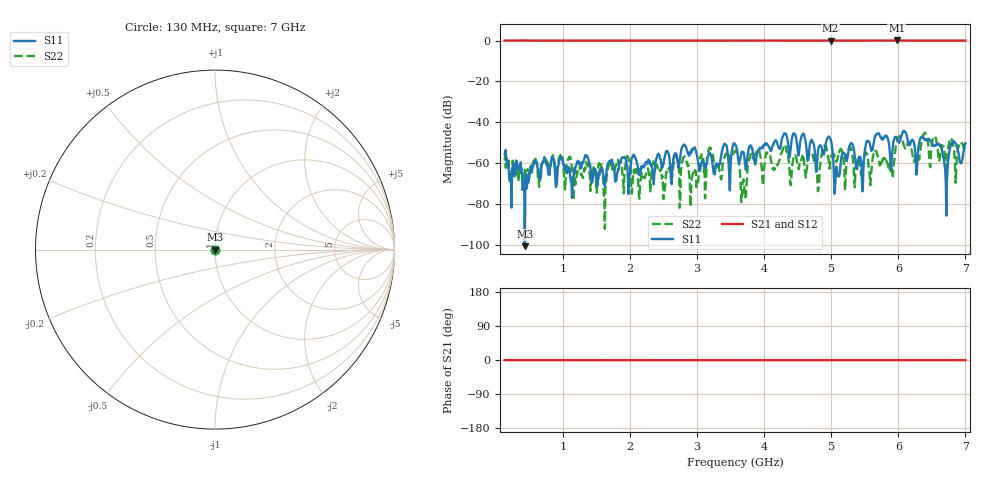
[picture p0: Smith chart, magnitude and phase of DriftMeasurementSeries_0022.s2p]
# Hz S RI R 50.000000
! Metas.Vna.Tools, 2.8.8664.20301
! Metas.Vna.Data, 2.8.8664.20285
! Created: UTC 2024.02.11 10:08:12
! FREQ  re:S1,1  im:S1,1  re:S2,1  im:S2,1  re:S1,2  im:S1,2  re:S2,2  im:S2,2
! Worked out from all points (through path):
!   801 points, 130 MHz to 7 GHz, reference 50 ohm
!   highest |S21| = 0.02 dB at 5.978 GHz (marker M1); lowest = -0.1 dB at 4.991 GHz (marker M2)
!   lowest |S11| = -100.5 dB at 430.6 MHz (marker M3), VSWR 1.00, Z = 50 + j0.000674 ohm
!   |S11| at or under -10 dB: start of sweep to end of sweep
!   |S22| runs from -92.0 to -45.0 dB; largest |S21 - S12| = 0.01
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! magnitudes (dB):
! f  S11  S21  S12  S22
! 130 MHz  -55.3  0.0  0.0  -58.6
! 430.6 MHz  -100.5  0.0  0.0  -62.6
! 1.281 GHz  -60.1  0.0  0.0  -65.4
! 2.423 GHz  -55.3  -0.1  0.0  -63.4
! 2.818 GHz  -51.2  -0.1  0.0  -56.7
! 2.921 GHz  -53.1  0.0  0.0  -67.3
! 3.273 GHz  -62.7  0.0  0.0  -61.2
! 3.565 GHz  -50.7  0.0  0.0  -54.1
! 3.694 GHz  -54.6  0.0  0.0  -67.8
! 3.891 GHz  -55.1  0.0  0.0  -54.1
! 4.716 GHz  -48.9  0.0  0.0  -55.6
! 4.991 GHz  -48.4  -0.1  0.0  -57.4
! 5.076 GHz  -61.6  -0.1  0.0  -58.7
! 5.3 GHz  -50.0  -0.1  0.0  -53.6
! 5.454 GHz  -63.2  -0.1  0.0  -66.0
! 5.686 GHz  -45.6  0.0  0.0  -55.7
! 5.858 GHz  -49.8  0.0  0.0  -62.7
! 5.978 GHz  -47.7  0.0  0.0  -49.8
! 6.605 GHz  -50.5  0.0  0.0  -59.1
! 6.708 GHz  -70.0  0.0  0.0  -61.1
! 6.802 GHz  -50.1  0.0  0.0  -48.7
! 7 GHz  -50.2  -0.1  0.0  -54.3
